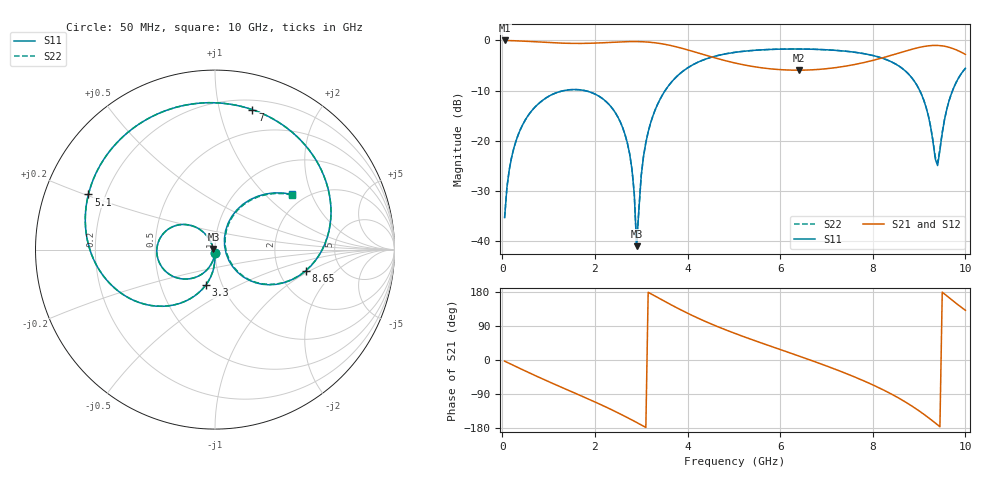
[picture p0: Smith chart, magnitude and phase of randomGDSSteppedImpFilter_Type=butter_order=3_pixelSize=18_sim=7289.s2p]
! freq	dB(S11)	phase(S11)	dB(S12)	phase(S12)
!  dB(S21)	phase(S21)	dB(S22)	phase(S22)
!S-par simulation data
#  GHz  S  DB  R 50
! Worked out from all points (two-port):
!   200 points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, 50 MHz to 10 GHz, reference 50 ohm
!   highest |S21| = 0.00 dB at 50 MHz (marker M1); lowest = -5.9 dB at 6.4 GHz (marker M2)
!   |S21| within 3 dB of the highest: start of sweep to 4.415 GHz; 8.384 GHz to end of sweep
!   lowest |S11| = -41.0 dB at 2.9 GHz (marker M3), VSWR 1.02, Z = 49.2 + j0.272 ohm
!   |S11| at or under -10 dB: start of sweep to 1.326 GHz; 1.785 GHz to 3.516 GHz (1.731 GHz wide, 65.3 % of centre); 9.014 GHz to 9.723 GHz (709.1 MHz wide, 7.57 % of centre)
!   |S22| runs from -40.7 to -1.7 dB; largest |S21 - S12| = 0
!   S11 on the Smith chart (normalised r, x): 50 MHz: 1.00, -0.03; 3.3 GHz: 0.84, -0.34; 5.1 GHz: 0.14, +0.20; 7 GHz: 0.28, +1.26; 8.65 GHz: 2.84, -0.91; 10 GHz: 1.71, +1.46
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0.05  -35.29 -92.8  -0.00 -3.0  -0.00 -3.0  -35.29 -92.8
0.2  -23.33 -101.9  -0.04 -11.8  -0.04 -11.8  -23.33 -101.9
0.5  -15.79 -119.6  -0.16 -29.2  -0.16 -29.2  -15.79 -119.6
1.75  -9.93 172.6  -0.59 -97.1  -0.59 -97.1  -9.93 172.7
2.65  -18.73 123.6  -0.26 -148.7  -0.26 -148.7  -18.73 123.7
2.8  -25.65 118.5  -0.23 -158.2  -0.23 -158.2  -25.65 118.8
2.9  -40.98 162.0  -0.23 -164.7  -0.23 -164.7  -40.69 163.2
3.05  -23.04 -91.5  -0.27 -174.6  -0.27 -174.6  -23.04 -91.8
3.3  -13.86 -104.4  -0.47 168.6  -0.47 168.6  -13.86 -104.5
3.4  -11.83 -110.6  -0.60 161.9  -0.60 161.9  -11.83 -110.7
4.1  -4.92 -153.5  -2.14 117.6  -2.14 117.6  -4.92 -153.5
5.05  -2.34 158.7  -4.55 69.0  -4.55 69.0  -2.34 158.7
5.1  -2.28 156.5  -4.65 66.7  -4.65 66.7  -2.28 156.4
6.4  -1.71 101.2  -5.93 10.7  -5.93 10.7  -1.71 101.2
6.7  -1.75 88.3  -5.85 -2.3  -5.85 -2.3  -1.75 88.3
7  -1.86 75.1  -5.63 -15.7  -5.63 -15.7  -1.86 75.1
8.35  -4.04 5.9  -3.10 -86.5  -3.10 -86.5  -4.04 6.1
8.65  -5.67 -13.0  -2.27 -106.8  -2.27 -106.8  -5.67 -12.8
9.1  -11.87 -42.0  -1.21 -142.9  -1.21 -142.9  -11.85 -41.3
9.4  -24.92 19.3  -0.99 -171.1  -0.99 -171.1  -24.37 18.3
9.65  -11.94 61.2  -1.37 164.2  -1.37 164.2  -11.92 60.2
10  -5.55 35.7  -2.78 131.1  -2.78 131.1  -5.55 35.2
